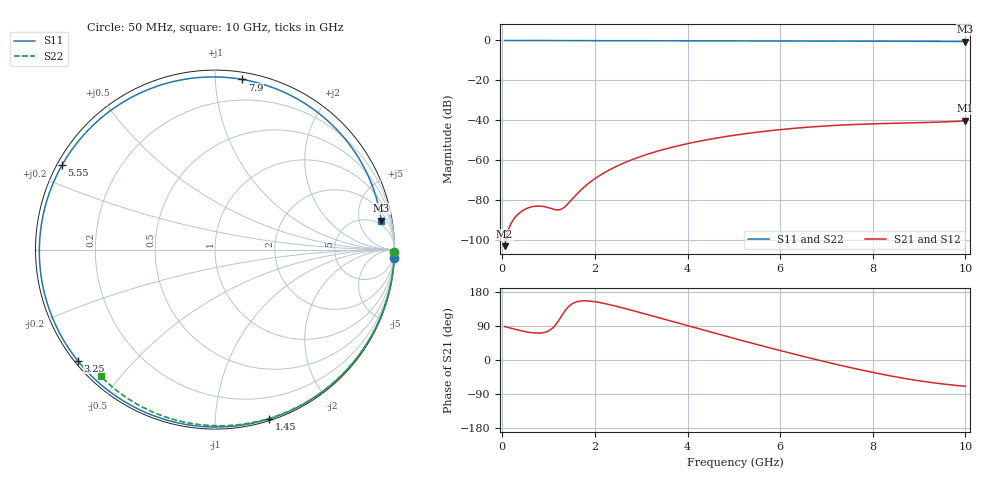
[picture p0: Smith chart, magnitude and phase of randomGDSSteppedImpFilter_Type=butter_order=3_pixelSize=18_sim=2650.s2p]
! freq	dB(S11)	phase(S11)	dB(S12)	phase(S12)
!  dB(S21)	phase(S21)	dB(S22)	phase(S22)
!S-par simulation data
#  GHz  S  DB  R 50
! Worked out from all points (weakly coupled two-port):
!   200 points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, 50 MHz to 10 GHz, reference 50 ohm
!   highest |S21| = -40.20 dB at 10 GHz (marker M1); lowest = -102.9 dB at 50 MHz (marker M2)
!   lowest |S11| = -0.5 dB at 10 GHz (marker M3), VSWR 32.46, Z = 183 + j512 ohm
!   |S11| at or under -10 dB: nowhere
!   |S22| runs from -0.4 to 0.0 dB; largest |S21 - S12| = 0
!   S11 on the Smith chart (normalised r, x): 50 MHz: 0, -43; 1.45 GHz: 0.01, -1.37; 3.25 GHz: 0.01, -0.35; 5.55 GHz: 0.01, +0.26; 7.9 GHz: 0.05, +1.17; 10 GHz: 4, +10
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0.05  -0.00 -2.7  -102.92 88.3  -102.92 88.3  -0.00 -0.8
0.4  -0.03 -21.1  -85.75 77.4  -85.75 77.4  -0.01 -6.1
0.8  -0.05 -41.5  -82.86 71.0  -82.86 71.0  -0.02 -12.1
1.15  -0.07 -58.5  -84.69 92.5  -84.69 92.5  -0.02 -17.4
1.45  -0.08 -72.4  -80.86 143.2  -80.86 143.2  -0.03 -21.9
1.5  -0.09 -74.6  -79.57 147.8  -79.57 147.8  -0.03 -22.6
1.75  -0.10 -85.5  -73.69 156.2  -73.69 156.2  -0.03 -26.3
2.05  -0.11 -97.9  -68.36 152.8  -68.36 152.8  -0.04 -30.8
2.4  -0.12 -111.4  -63.72 143.7  -63.72 143.7  -0.05 -35.9
3.25  -0.14 -141.0  -56.10 116.0  -56.10 116.0  -0.06 -48.0
3.4  -0.15 -145.9  -55.08 110.9  -55.08 110.9  -0.07 -50.1
4.2  -0.17 -170.3  -50.66 83.8  -50.66 83.8  -0.09 -61.2
5.05  -0.21 165.2  -47.30 55.5  -47.30 55.5  -0.11 -72.6
5.55  -0.23 151.1  -45.77 39.2  -45.77 39.2  -0.13 -79.1
6.1  -0.26 135.4  -44.39 21.8  -44.39 21.8  -0.15 -86.1
6.7  -0.29 117.9  -43.23 3.4  -43.23 3.4  -0.18 -93.5
7.3  -0.32 99.8  -42.38 -14.1  -42.38 -14.1  -0.21 -100.8
7.9  -0.35 81.0  -41.80 -30.2  -41.80 -30.2  -0.25 -108.0
8.35  -0.38 66.3  -41.49 -41.2  -41.49 -41.2  -0.29 -113.2
8.8  -0.41 51.3  -41.24 -50.9  -41.24 -50.9  -0.33 -118.4
9.25  -0.44 35.9  -40.98 -59.2  -40.98 -59.2  -0.37 -123.6
10  -0.54 9.9  -40.20 -69.2  -40.20 -69.2  -0.45 -132.1
